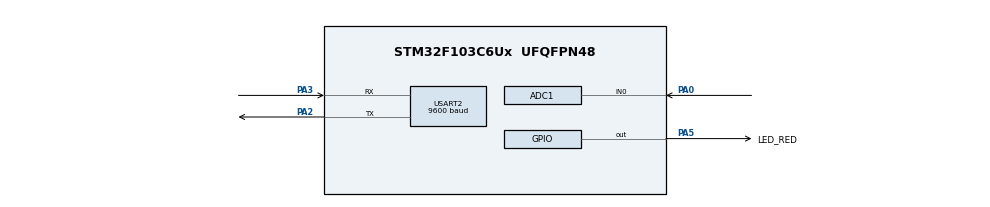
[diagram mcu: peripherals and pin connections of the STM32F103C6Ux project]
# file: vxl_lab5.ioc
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ADC1.Channel-0\#ChannelRegularConversion=ADC_CHANNEL_0
ADC1.ContinuousConvMode=ENABLE
ADC1.NbrOfConversionFlag=1
ADC1.Rank-0\#ChannelRegularConversion=1
ADC1.SamplingTime-0\#ChannelRegularConversion=ADC_SAMPLETIME_1CYCLE_5
ADC1.master=1
Mcu.Family=STM32F1
Mcu.Name=STM32F103C6Ux
Mcu.Package=UFQFPN48
NVIC.PriorityGroup=NVIC_PRIORITYGROUP_4
NVIC.TIM2_IRQn=true\:0\:0\:false\:false\:true\:true\:true
NVIC.USART2_IRQn=true\:0\:0\:false\:false\:true\:true\:true
PA0-WKUP.Signal=ADCx_IN0
PA2.Mode=Asynchronous
PA2.Signal=USART2_TX
PA3.Mode=Asynchronous
PA3.Signal=USART2_RX
PA5.GPIO_Label=LED_RED
PA5.Signal=GPIO_Output
PA6.Signal=S_TIM3_CH1
ProjectManager.HeapSize=0x200
ProjectManager.StackSize=0x400
ProjectManager.TargetToolchain=STM32CubeIDE
RCC.APB1Freq_Value=8000000
RCC.APB2Freq_Value=8000000
SH.ADCx_IN0.0=ADC1_IN0,IN0
SH.S_TIM3_CH1.0=TIM3_CH1
TIM2.Period=9
TIM2.Prescaler=7999
USART2.BaudRate=9600
USART2.VirtualMode=VM_ASYNC
VP_SYS_VS_ND.Mode=No_Debug
VP_TIM2_VS_ClockSourceINT.Mode=Internal
board=custom

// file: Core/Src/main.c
/* USER CODE BEGIN Header */
/**
  ******************************************************************************
  * @file           : main.c
  * @brief          : Main program body
  ******************************************************************************
  * @attention
  *
  * <h2><center>&copy; Copyright (c) 2025 STMicroelectronics.
  * All rights reserved.</center></h2>
  *
  * This software component is licensed by ST under BSD 3-Clause license,
  * the "License"; You may not use this file except in compliance with the
  * License. You may obtain a copy of the License at:
  *                        opensource.org/licenses/BSD-3-Clause
  *
  ******************************************************************************
  */
/* USER CODE END Header */
#include "main.h"

/* USER CODE BEGIN Includes */
#include "global.h"
#include "command_parser.h"
#include "uart_communiation.h"
#include "softwareTimer.h"
#include <stdio.h>
#include <string.h>
/* USER CODE END Includes */

ADC_HandleTypeDef hadc1;

TIM_HandleTypeDef htim2;

UART_HandleTypeDef huart2;

void SystemClock_Config(void);
static void MX_GPIO_Init(void);
static void MX_ADC1_Init(void);
static void MX_TIM2_Init(void);
static void MX_USART2_UART_Init(void);

/* USER CODE BEGIN 0 */

void HAL_UART_RxCpltCallback (UART_HandleTypeDef * huart) {
	if (huart -> Instance == USART2) {

		HAL_UART_Transmit(&huart2, &temp, 1, 100); // This line is used for typing commands into the virtual terminal

		buffer[index_buffer++] = temp;

		if (index_buffer >= MAX_SIZE_BUFFER) index_buffer = 0;

		buffer_flag = 1;

		HAL_UART_Receive_IT(&huart2, &temp, 1);
	}
}

/* USER CODE END 0 */

int main(void)
{

  /* MCU Configuration--------------------------------------------------------*/

  /* Reset of all peripherals, Initializes the Flash interface and the Systick. */
  HAL_Init();

  /* Configure the system clock */
  SystemClock_Config();

  /* Initialize all configured peripherals */
  MX_GPIO_Init();
  MX_ADC1_Init();
  MX_TIM2_Init();
  MX_USART2_UART_Init();
  /* USER CODE BEGIN 2 */
  HAL_TIM_Base_Start_IT(&htim2);
  HAL_ADC_Start(&hadc1);
  HAL_UART_Receive_IT(&huart2, &temp, 1);
  /* USER CODE END 2 */

  /* Infinite loop */
  /* USER CODE BEGIN WHILE */
  char InitMessage[64];
  int len = sprintf(InitMessage, "Begin Communication...\r\n");
  HAL_UART_Transmit(&huart2, (void *)InitMessage, len, 100);

  while (1)
  {
    /* USER CODE END WHILE */

    /* USER CODE BEGIN 3 */
	  if (buffer_flag == 1) {
		  buffer_flag = 0;
		  command_parser_fsm();
	  }

	  uart_communication_fsm();
  }
  /* USER CODE END 3 */
}

void SystemClock_Config(void)
{
  RCC_OscInitTypeDef RCC_OscInitStruct = {0};
  RCC_ClkInitTypeDef RCC_ClkInitStruct = {0};
  RCC_PeriphCLKInitTypeDef PeriphClkInit = {0};

  /** Initializes the RCC Oscillators according to the specified parameters
  * in the RCC_OscInitTypeDef structure.
  */
  RCC_OscInitStruct.OscillatorType = RCC_OSCILLATORTYPE_HSI;
  RCC_OscInitStruct.HSIState = RCC_HSI_ON;
  RCC_OscInitStruct.HSICalibrationValue = RCC_HSICALIBRATION_DEFAULT;
  RCC_OscInitStruct.PLL.PLLState = RCC_PLL_NONE;
  if (HAL_RCC_OscConfig(&RCC_OscInitStruct) != HAL_OK)
  {
    Error_Handler();
  }
  /** Initializes the CPU, AHB and APB buses clocks
  */
  RCC_ClkInitStruct.ClockType = RCC_CLOCKTYPE_HCLK|RCC_CLOCKTYPE_SYSCLK
                              |RCC_CLOCKTYPE_PCLK1|RCC_CLOCKTYPE_PCLK2;
  RCC_ClkInitStruct.SYSCLKSource = RCC_SYSCLKSOURCE_HSI;
  RCC_ClkInitStruct.AHBCLKDivider = RCC_SYSCLK_DIV1;
  RCC_ClkInitStruct.APB1CLKDivider = RCC_HCLK_DIV1;
  RCC_ClkInitStruct.APB2CLKDivider = RCC_HCLK_DIV1;

  if (HAL_RCC_ClockConfig(&RCC_ClkInitStruct, FLASH_LATENCY_0) != HAL_OK)
  {
    Error_Handler();
  }
  PeriphClkInit.PeriphClockSelection = RCC_PERIPHCLK_ADC;
  PeriphClkInit.AdcClockSelection = RCC_ADCPCLK2_DIV2;
  if (HAL_RCCEx_PeriphCLKConfig(&PeriphClkInit) != HAL_OK)
  {
    Error_Handler();
  }
}

static void MX_ADC1_Init(void)
{

  ADC_ChannelConfTypeDef sConfig = {0};

  /** Common config
  */
  hadc1.Instance = ADC1;
  hadc1.Init.ScanConvMode = ADC_SCAN_DISABLE;
  hadc1.Init.ContinuousConvMode = ENABLE;
  hadc1.Init.DiscontinuousConvMode = DISABLE;
  hadc1.Init.ExternalTrigConv = ADC_SOFTWARE_START;
  hadc1.Init.DataAlign = ADC_DATAALIGN_RIGHT;
  hadc1.Init.NbrOfConversion = 1;
  if (HAL_ADC_Init(&hadc1) != HAL_OK)
  {
    Error_Handler();
  }
  /** Configure Regular Channel
  */
  sConfig.Channel = ADC_CHANNEL_0;
  sConfig.Rank = ADC_REGULAR_RANK_1;
  sConfig.SamplingTime = ADC_SAMPLETIME_1CYCLE_5;
  if (HAL_ADC_ConfigChannel(&hadc1, &sConfig) != HAL_OK)
  {
    Error_Handler();
  }

}

static void MX_TIM2_Init(void)
{

  TIM_ClockConfigTypeDef sClockSourceConfig = {0};
  TIM_MasterConfigTypeDef sMasterConfig = {0};

  htim2.Instance = TIM2;
  htim2.Init.Prescaler = 7999;
  htim2.Init.CounterMode = TIM_COUNTERMODE_UP;
  htim2.Init.Period = 9;
  htim2.Init.ClockDivision = TIM_CLOCKDIVISION_DIV1;
  htim2.Init.AutoReloadPreload = TIM_AUTORELOAD_PRELOAD_DISABLE;
  if (HAL_TIM_Base_Init(&htim2) != HAL_OK)
  {
    Error_Handler();
  }
  sClockSourceConfig.ClockSource = TIM_CLOCKSOURCE_INTERNAL;
  if (HAL_TIM_ConfigClockSource(&htim2, &sClockSourceConfig) != HAL_OK)
  {
    Error_Handler();
  }
  sMasterConfig.MasterOutputTrigger = TIM_TRGO_RESET;
  sMasterConfig.MasterSlaveMode = TIM_MASTERSLAVEMODE_DISABLE;
  if (HAL_TIMEx_MasterConfigSynchronization(&htim2, &sMasterConfig) != HAL_OK)
  {
    Error_Handler();
  }

}

static void MX_USART2_UART_Init(void)
{

  huart2.Instance = USART2;
  huart2.Init.BaudRate = 9600;
  huart2.Init.WordLength = UART_WORDLENGTH_8B;
  huart2.Init.StopBits = UART_STOPBITS_1;
  huart2.Init.Parity = UART_PARITY_NONE;
  huart2.Init.Mode = UART_MODE_TX_RX;
  huart2.Init.HwFlowCtl = UART_HWCONTROL_NONE;
  huart2.Init.OverSampling = UART_OVERSAMPLING_16;
  if (HAL_UART_Init(&huart2) != HAL_OK)
  {
    Error_Handler();
  }

}

static void MX_GPIO_Init(void)
{
  GPIO_InitTypeDef GPIO_InitStruct = {0};

  /* GPIO Ports Clock Enable */
  __HAL_RCC_GPIOA_CLK_ENABLE();

  /*Configure GPIO pin Output Level */
  HAL_GPIO_WritePin(LED_RED_GPIO_Port, LED_RED_Pin, GPIO_PIN_RESET);

  /*Configure GPIO pin : LED_RED_Pin */
  GPIO_InitStruct.Pin = LED_RED_Pin;
  GPIO_InitStruct.Mode = GPIO_MODE_OUTPUT_PP;
  GPIO_InitStruct.Pull = GPIO_NOPULL;
  GPIO_InitStruct.Speed = GPIO_SPEED_FREQ_LOW;
  HAL_GPIO_Init(LED_RED_GPIO_Port, &GPIO_InitStruct);

  /*Configure GPIO pin : PA6 */
  GPIO_InitStruct.Pin = GPIO_PIN_6;
  GPIO_InitStruct.Mode = GPIO_MODE_AF_PP;
  GPIO_InitStruct.Speed = GPIO_SPEED_FREQ_LOW;
  HAL_GPIO_Init(GPIOA, &GPIO_InitStruct);

}

/* USER CODE BEGIN 4 */
void HAL_TIM_PeriodElapsedCallback(TIM_HandleTypeDef *htim) {
	timer_run();
}
/* USER CODE END 4 */

void Error_Handler(void)
{
  __disable_irq();
  while (1)
  {
  }
}

/************************ (C) COPYRIGHT STMicroelectronics *****END OF FILE****/
